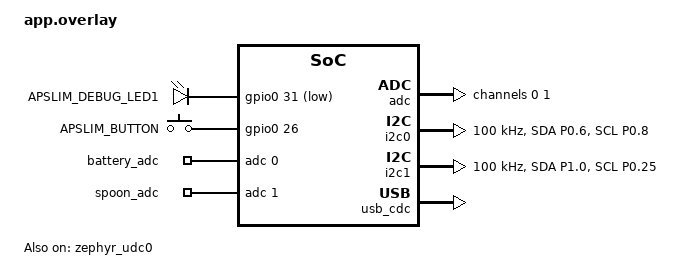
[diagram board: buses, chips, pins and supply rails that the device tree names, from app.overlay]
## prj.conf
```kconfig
# =========================================================
# GPIO
# =========================================================

CONFIG_GPIO=y


# =========================================================
# ADC
# =========================================================

CONFIG_ADC=y


# =========================================================
# I2C
# =========================================================

CONFIG_I2C=y


# =========================================================
# USB CDC ACM
# =========================================================

CONFIG_SERIAL=y

CONFIG_USB_DEVICE_STACK=y
CONFIG_USB_CDC_ACM=y
CONFIG_USB_DEVICE_STACK_NEXT=n

CONFIG_UART_LINE_CTRL=y
CONFIG_USB_DEVICE_INITIALIZE_AT_BOOT=n

CONFIG_USB_DEVICE_PRODUCT="APSLIM HW TEST"
```

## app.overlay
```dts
/*
 * APSLIM Custom PCB Overlay
 * nRF Connect SDK v3.4.1
 */

/ {
    /* =====================================================
     * DEBUG LED
     * DEBUG LED1 : P0.31
     * ===================================================== */

    leds {
        compatible = "gpio-leds";

        debug_led1: debug_led_1 {
            gpios = <&gpio0 31 GPIO_ACTIVE_LOW>;
            label = "APSLIM_DEBUG_LED1";
        };
    };


    /* =====================================================
     * BUTTON
     * PWR_SW_STATE : P0.26
     * ===================================================== */

    buttons {
        compatible = "gpio-keys";

        user_btn: user_button {
            gpios = <&gpio0 26 GPIO_ACTIVE_HIGH>;
            label = "APSLIM_BUTTON";
        };
    };


    /* =====================================================
     * ADC
     *
     * Battery ADC : P0.02 / AIN0
     * Spoon ADC   : P0.03 / AIN1
     * ===================================================== */

    zephyr,user {
        io-channels =
            <&adc 0>,
            <&adc 1>;

        io-channel-names =
            "battery_adc",
            "spoon_adc";
    };


    /* =====================================================
     * ALIASES
     * ===================================================== */

    aliases {
        led0 = &debug_led1;
        sw0  = &user_btn;
    };
};


/* =========================================================
 * SAADC
 * ========================================================= */

&adc {
    status = "okay";

    #address-cells = <1>;
    #size-cells = <0>;


    /* Battery ADC
     * P0.02 / AIN0
     */
    channel@0 {
        reg = <0>;

        zephyr,gain = "ADC_GAIN_1_6";
        zephyr,reference = "ADC_REF_INTERNAL";
        zephyr,acquisition-time = <ADC_ACQ_TIME_DEFAULT>;
        zephyr,input-positive = <NRF_SAADC_AIN0>;
        zephyr,resolution = <12>;
    };


    /* Spoon ADC
     * P0.03 / AIN1
     */
    channel@1 {
        reg = <1>;

        zephyr,gain = "ADC_GAIN_1_6";
        zephyr,reference = "ADC_REF_INTERNAL";
        zephyr,acquisition-time = <ADC_ACQ_TIME_DEFAULT>;
        zephyr,input-positive = <NRF_SAADC_AIN1>;
        zephyr,resolution = <12>;
    };
};


/* =========================================================
 * I2C0
 *
 * LIS2DH12
 *
 * SDA : P0.06
 * SCL : P0.08
 * ========================================================= */

&i2c0 {
    status = "okay";

    pinctrl-0 = <&apslim_i2c0_default>;
    pinctrl-1 = <&apslim_i2c0_sleep>;
    pinctrl-names = "default", "sleep";

    clock-frequency = <100000>;
};


/* =========================================================
 * I2C1
 *
 * FDC1004
 *
 * SDA : P1.00
 * SCL : P0.25
 * ========================================================= */

&i2c1 {
    status = "okay";

    pinctrl-0 = <&apslim_i2c1_default>;
    pinctrl-1 = <&apslim_i2c1_sleep>;
    pinctrl-names = "default", "sleep";

    clock-frequency = <100000>;
};


/* =========================================================
 * PINCTRL
 * ========================================================= */

&pinctrl {

    /* LIS2DH12 */
    apslim_i2c0_default: apslim_i2c0_default {
        group1 {
            psels =
                <NRF_PSEL(TWIM_SDA, 0, 6)>,
                <NRF_PSEL(TWIM_SCL, 0, 8)>;
        };
    };

    apslim_i2c0_sleep: apslim_i2c0_sleep {
        group1 {
            psels =
                <NRF_PSEL(TWIM_SDA, 0, 6)>,
                <NRF_PSEL(TWIM_SCL, 0, 8)>;

            low-power-enable;
        };
    };


    /* FDC1004 */
    apslim_i2c1_default: apslim_i2c1_default {
        group1 {
            psels =
                <NRF_PSEL(TWIM_SDA, 1, 0)>,
                <NRF_PSEL(TWIM_SCL, 0, 25)>;
        };
    };

    apslim_i2c1_sleep: apslim_i2c1_sleep {
        group1 {
            psels =
                <NRF_PSEL(TWIM_SDA, 1, 0)>,
                <NRF_PSEL(TWIM_SCL, 0, 25)>;

            low-power-enable;
        };
    };
};


/* =========================================================
 * USB CDC
 * ========================================================= */

&zephyr_udc0 {
    status = "okay";

    usb_cdc: usb_cdc {
        compatible = "zephyr,cdc-acm-uart";
    };
};
```

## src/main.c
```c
#include <zephyr/kernel.h>
#include <zephyr/device.h>

#include <zephyr/drivers/gpio.h>
#include <zephyr/drivers/adc.h>
#include <zephyr/drivers/uart.h>
#include <zephyr/drivers/i2c.h>

#include <zephyr/usb/usb_device.h>

#include <stdbool.h>
#include <stdint.h>
#include <stdio.h>


/* =========================================================
 * DEBUG LED1
 *
 * P0.31
 * ========================================================= */

#define DEBUG_LED1_NODE DT_ALIAS(led0)

static const struct gpio_dt_spec debug_led1 =
    GPIO_DT_SPEC_GET(DEBUG_LED1_NODE, gpios);


/* =========================================================
 * BUTTON
 *
 * P0.26
 * ========================================================= */

#define BTN_NODE DT_ALIAS(sw0)

static const struct gpio_dt_spec button =
    GPIO_DT_SPEC_GET(BTN_NODE, gpios);


/* =========================================================
 * BATTERY ADC
 *
 * P0.02 / AIN0
 * ========================================================= */

static const struct adc_dt_spec battery_adc =
    ADC_DT_SPEC_GET_BY_NAME(
        DT_PATH(zephyr_user),
        battery_adc
    );


/* =========================================================
 * I2C
 * ========================================================= */

static const struct device *lis_i2c =
    DEVICE_DT_GET(DT_NODELABEL(i2c0));

static const struct device *fdc_i2c =
    DEVICE_DT_GET(DT_NODELABEL(i2c1));


/* =========================================================
 * USB CDC
 * ========================================================= */

static const struct device *cdc_dev =
    DEVICE_DT_GET(DT_NODELABEL(usb_cdc));


/* =========================================================
 * I2C DEVICE DEFINITIONS
 * ========================================================= */

/* LIS2DH12 */
#define LIS2DH12_ADDR_LOW       0x18
#define LIS2DH12_ADDR_HIGH      0x19

#define LIS2DH12_WHO_AM_I_REG   0x0F
#define LIS2DH12_WHO_AM_I_VALUE 0x33


/* FDC1004 */
#define FDC1004_ADDR            0x50

#define FDC1004_DEVICE_ID_REG   0xFF
#define FDC1004_DEVICE_ID_VALUE 0x1004


/* =========================================================
 * USB Send
 * ========================================================= */

static void usb_send_string(const char *str)
{
    while (*str != '\0')
    {
        uart_poll_out(cdc_dev, *str);
        str++;
    }
}


/* =========================================================
 * LIS2DH12 Address Check
 *
 * 0x18 / 0x19 둘 다 확인
 * WHO_AM_I = 0x33 확인
 * ========================================================= */

static int lis2dh12_detect(uint8_t *found_addr)
{
    uint8_t who_am_i;

    const uint8_t address_list[] = {
        LIS2DH12_ADDR_LOW,
        LIS2DH12_ADDR_HIGH
    };

    for (int i = 0; i < 2; i++)
    {
        int ret = i2c_reg_read_byte(
            lis_i2c,
            address_list[i],
            LIS2DH12_WHO_AM_I_REG,
            &who_am_i
        );

        if ((ret == 0) &&
            (who_am_i == LIS2DH12_WHO_AM_I_VALUE))
        {
            *found_addr = address_list[i];

            return 0;
        }
    }

    return -1;
}


/* =========================================================
 * FDC1004 16-bit Register Read
 * ========================================================= */

static int fdc1004_read_register(
    uint8_t reg,
    uint16_t *value)
{
    uint8_t rx_data[2];

    int ret = i2c_write_read(
        fdc_i2c,
        FDC1004_ADDR,
        &reg,
        1,
        rx_data,
        2
    );

    if (ret != 0)
    {
        return ret;
    }

    *value =
        ((uint16_t)rx_data[0] << 8) |
        ((uint16_t)rx_data[1]);

    return 0;
}


/* =========================================================
 * Print I2C Device Status
 * ========================================================= */

static void print_i2c_device_status(void)
{
    uint8_t lis_addr = 0;
    uint16_t fdc_device_id = 0;

    char buffer[96];


    usb_send_string(
        "----------------------------\r\n"
    );

    usb_send_string(
        " I2C DEVICE CHECK\r\n"
    );

    usb_send_string(
        "----------------------------\r\n"
    );


    /* -----------------------------------------------------
     * LIS2DH12
     * ----------------------------------------------------- */

    if (device_is_ready(lis_i2c) &&
        (lis2dh12_detect(&lis_addr) == 0))
    {
        snprintf(
            buffer,
            sizeof(buffer),
            "LIS2DH12 : 0x%02X\r\n",
            lis_addr
        );
    }
    else
    {
        snprintf(
            buffer,
            sizeof(buffer),
            "LIS2DH12 : NONE\r\n"
        );
    }

    usb_send_string(buffer);


    /* -----------------------------------------------------
     * FDC1004
     * ----------------------------------------------------- */

    if (device_is_ready(fdc_i2c) &&
        (fdc1004_read_register(
            FDC1004_DEVICE_ID_REG,
            &fdc_device_id) == 0) &&
        (fdc_device_id ==
            FDC1004_DEVICE_ID_VALUE))
    {
        snprintf(
            buffer,
            sizeof(buffer),
            "FDC1004  : 0x%02X\r\n",
            FDC1004_ADDR
        );
    }
    else
    {
        snprintf(
            buffer,
            sizeof(buffer),
            "FDC1004  : NONE\r\n"
        );
    }

    usb_send_string(buffer);

    usb_send_string(
        "----------------------------\r\n\r\n"
    );
}


/* =========================================================
 * Main
 * ========================================================= */

int main(void)
{
    int ret;

    bool terminal_connected = false;

    uint32_t dtr = 0;

    int16_t adc_raw = 0;
    int32_t adc_mv = 0;

    char tx_buffer[128];


    /* =====================================================
     * Timing
     * ===================================================== */

    int64_t now;

    int64_t last_led_time = 0;
    int64_t last_adc_time = 0;

    int64_t btn_change_time = 0;


    /* =====================================================
     * Button State
     * ===================================================== */

    int btn_raw;
    int btn_last_raw;
    int btn_stable;


    /* =====================================================
     * GPIO Init
     * ===================================================== */

    if (!gpio_is_ready_dt(&debug_led1))
    {
        return 0;
    }

    if (!gpio_is_ready_dt(&button))
    {
        return 0;
    }


    ret = gpio_pin_configure_dt(
        &debug_led1,
        GPIO_OUTPUT_INACTIVE
    );

    if (ret < 0)
    {
        return 0;
    }


    ret = gpio_pin_configure_dt(
        &button,
        GPIO_INPUT
    );

    if (ret < 0)
    {
        return 0;
    }


    /* =====================================================
     * Button Initial State
     * ===================================================== */

    btn_raw = gpio_pin_get_dt(&button);

    btn_last_raw = btn_raw;
    btn_stable = btn_raw;


    /* =====================================================
     * ADC Init
     * ===================================================== */

    if (!adc_is_ready_dt(&battery_adc))
    {
        return 0;
    }


    ret = adc_channel_setup_dt(
        &battery_adc
    );

    if (ret < 0)
    {
        return 0;
    }


    struct adc_sequence sequence = {
        .buffer = &adc_raw,
        .buffer_size = sizeof(adc_raw),
    };


    ret = adc_sequence_init_dt(
        &battery_adc,
        &sequence
    );

    if (ret < 0)
    {
        return 0;
    }


    /* =====================================================
     * USB Init
     * ===================================================== */

    if (!device_is_ready(cdc_dev))
    {
        return 0;
    }


    ret = usb_enable(NULL);

    if (ret != 0)
    {
        return 0;
    }


    /* =====================================================
     * Main Loop
     * ===================================================== */

    while (1)
    {
        now = k_uptime_get();


        /* =================================================
         * DEBUG LED1
         *
         * USB 상태와 무관
         * 500 ms Toggle
         * ================================================= */

        if ((now - last_led_time) >= 500)
        {
            last_led_time = now;

            gpio_pin_toggle_dt(
                &debug_led1
            );
        }


        /* =================================================
         * USB Terminal State
         * ================================================= */

        dtr = 0;

        uart_line_ctrl_get(
            cdc_dev,
            UART_LINE_CTRL_DTR,
            &dtr
        );


        /* =================================================
         * Terminal Connected
         * ================================================= */

        if ((dtr != 0U) &&
            (terminal_connected == false))
        {
            terminal_connected = true;


            usb_send_string("\r\n");
            usb_send_string("============================\r\n");
            usb_send_string(" APSLIM HW TEST\r\n");
            usb_send_string("============================\r\n");

            usb_send_string(
                "DEBUG LED : P0.31\r\n"
            );

            usb_send_string(
                "BUTTON    : P0.26\r\n"
            );

            usb_send_string(
                "BAT ADC   : P0.02 / AIN0\r\n"
            );

            usb_send_string(
                "SPOON ADC : P0.03 / AIN1\r\n"
            );

            usb_send_string("\r\n");


            /* =============================================
             * I2C Address Check
             *
             * Terminal을 열었을 때 한 번 실행
             * ============================================= */

            print_i2c_device_status();
        }


        /* =================================================
         * Terminal Disconnected
         * ================================================= */

        if (dtr == 0U)
        {
            terminal_connected = false;
        }


        /* =================================================
         * BUTTON
         *
         * 30 ms Debounce
         * ================================================= */

        btn_raw =
            gpio_pin_get_dt(&button);


        if (btn_raw != btn_last_raw)
        {
            btn_last_raw = btn_raw;
            btn_change_time = now;
        }


        if (((now - btn_change_time) >= 30) &&
            (btn_raw != btn_stable))
        {
            btn_stable = btn_raw;


            if (terminal_connected)
            {
                snprintf(
                    tx_buffer,
                    sizeof(tx_buffer),
                    "BTN : %d\r\n",
                    btn_stable
                );

                usb_send_string(
                    tx_buffer
                );
            }
        }


        /* =================================================
         * BATTERY ADC
         *
         * 500 ms
         * ================================================= */

        if ((now - last_adc_time) >= 500)
        {
            last_adc_time = now;

            adc_raw = 0;


            ret = adc_read_dt(
                &battery_adc,
                &sequence
            );


            if (terminal_connected)
            {
                if (ret < 0)
                {
                    snprintf(
                        tx_buffer,
                        sizeof(tx_buffer),
                        "BAT ADC ERROR : %d\r\n",
                        ret
                    );
                }
                else
                {
                    adc_mv = adc_raw;

                    ret =
                        adc_raw_to_millivolts_dt(
                            &battery_adc,
                            &adc_mv
                        );


                    if (ret == 0)
                    {
                        snprintf(
                            tx_buffer,
                            sizeof(tx_buffer),
                            "BAT ADC RAW : %d | ADC PIN : %ld mV\r\n",
                            adc_raw,
                            (long)adc_mv
                        );
                    }
                    else
                    {
                        snprintf(
                            tx_buffer,
                            sizeof(tx_buffer),
                            "BAT ADC RAW : %d\r\n",
                            adc_raw
                        );
                    }
                }


                usb_send_string(
                    tx_buffer
                );
            }
        }


        /* =================================================
         * Main Task Period
         * ================================================= */

        k_msleep(10);
    }


    return 0;
}
```
